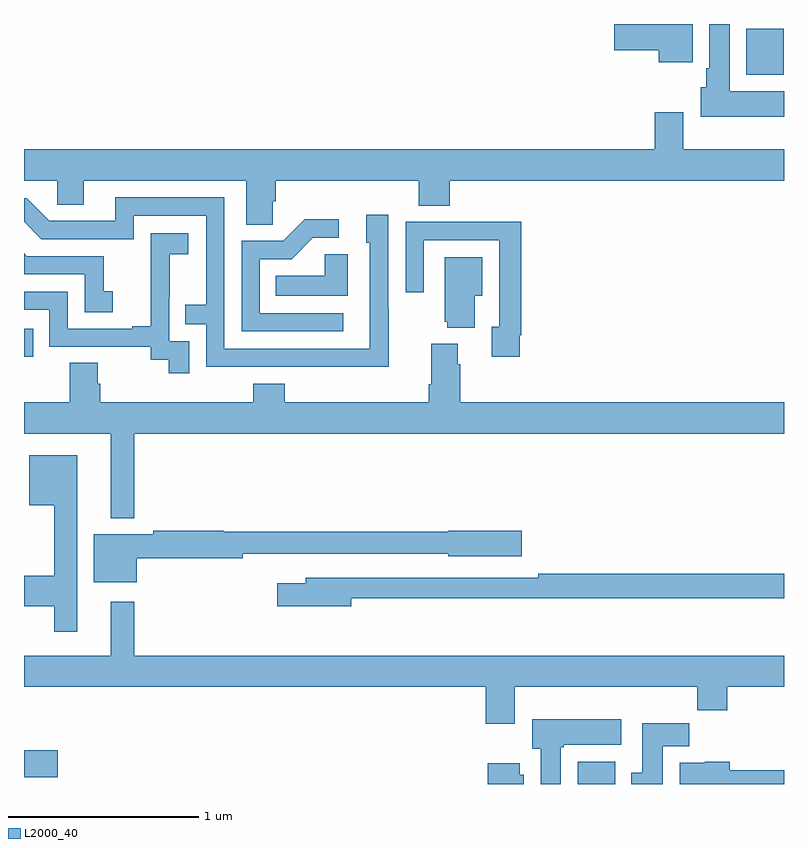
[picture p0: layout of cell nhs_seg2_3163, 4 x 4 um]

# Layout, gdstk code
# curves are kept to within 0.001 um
import gdstk
lib = gdstk.Library(unit=1e-6, precision=1e-09)
def R(c, l, rs):  # rectangles x0, y0, x1, y1
    for r in rs: c.add(gdstk.rectangle(r[:2], r[2:], *l))
def P(c, l, *ps):  # polygons
    for p in ps: c.add(gdstk.Polygon(p, *l))
L2000_40 = (2000, 40)

nhs_seg2_3163 = lib.new_cell('nhs_seg2_3163')
R(nhs_seg2_3163, L2000_40, [(279.914,637.8,280.111,637.918), (277,637.835,277.177,637.977), (277,640.05,277.049,640.197), (280.802,641.534,280.999,641.776)])
P(nhs_seg2_3163, L2000_40, [(281,641.446),(280.714,641.446),(280.714,641.8),(280.607,641.8),(280.607,641.566),(280.592,641.566),(280.592,641.466),(280.562,641.466),(280.562,641.312),(281,641.312)],
  [(280.519,641.8),(280.106,641.8),(280.106,641.663),(280.34,641.663),(280.34,641.6),(280.519,641.6)],
  [(278.31,640.867),(278.324,640.867),(278.324,640.976),(279.077,640.976),(279.077,640.843),(279.242,640.843),(279.242,640.976),(281,640.976),(281,641.14),(280.471,641.14),(280.471,641.335),(280.319,641.335),(280.319,641.14),(277,641.14),(277,640.976),(277.176,640.976),(277.176,640.849),(277.315,640.849),(277.315,640.976),(278.171,640.976),(278.171,640.744),(278.31,640.744)],
  [(278.919,640.301),(278.916,640.301),(278.916,640.795),(278.801,640.795),(278.801,640.65),(278.82,640.65),(278.82,640.092),(278.055,640.092),(278.055,640.887),(277.481,640.887),(277.481,640.764),(277.134,640.764),(277.014,640.884),(277,640.884),(277,640.76),(277.092,640.668),(277.578,640.668),(277.578,640.791),(277.959,640.791),(277.959,640.322),(277.849,640.322),(277.849,640.221),(277.959,640.221),(277.959,639.996),(278.919,639.995)],
  [(278.68,640.278),(278.241,640.278),(278.241,640.563),(278.41,640.563),(278.521,640.674),(278.656,640.674),(278.656,640.772),(278.477,640.772),(278.364,640.659),(278.145,640.659),(278.145,640.182),(278.68,640.182)],
  [(279.61,640.162),(279.617,640.162),(279.617,640.76),(279.325,640.76),(279.325,640.758),(279.009,640.758),(279.009,640.389),(279.105,640.389),(279.105,640.662),(279.501,640.662),(279.501,640.206),(279.461,640.206),(279.461,640.05),(279.61,640.05)],
  [(277.869,640.131),(277.764,640.131),(277.764,640.361),(277.766,640.361),(277.766,640.589),(277.864,640.589),(277.864,640.699),(277.666,640.699),(277.666,640.493),(277.667,640.493),(277.667,640.21),(277.571,640.21),(277.571,640.197),(277.23,640.197),(277.23,640.392),(277,640.392),(277,640.296),(277.134,640.296),(277.134,640.101),(277.668,640.101),(277.668,640.033),(277.761,640.033),(277.761,639.963),(277.869,639.963)],
  [(277.468,640.393),(277.419,640.393),(277.419,640.578),(277.015,640.578),(277,640.593),(277,640.482),(277.32,640.482),(277.32,640.284),(277.468,640.284)],
  [(278.704,640.589),(278.583,640.589),(278.583,640.474),(278.326,640.474),(278.326,640.37),(278.704,640.37)],
  [(279.373,640.37),(279.412,640.37),(279.412,640.573),(279.215,640.573),(279.215,640.233),(279.227,640.233),(279.227,640.202),(279.373,640.202)],
  [(277.579,639.644),(281,639.644),(281,639.808),(279.296,639.808),(279.296,640.01),(279.283,640.01),(279.283,640.117),(279.143,640.117),(279.143,639.904),(279.131,639.904),(279.131,639.808),(278.372,639.808),(278.372,639.907),(278.207,639.907),(278.207,639.808),(277.4,639.808),(277.4,639.906),(277.387,639.906),(277.387,640.016),(277.24,640.016),(277.24,639.808),(277,639.808),(277,639.644),(277.457,639.644),(277.457,639.2),(277.579,639.2)],
  [(277.279,639.529),(277.028,639.529),(277.028,639.266),(277.158,639.266),(277.158,638.895),(277,638.895),(277,638.735),(277.158,638.735),(277.158,638.601),(277.279,638.601)],
  [(277.594,638.987),(278.152,638.987),(278.152,639.011),(278.346,639.011),(278.346,639.012),(279.234,639.012),(279.234,638.999),(279.619,638.999),(279.619,639.134),(279.234,639.134),(279.234,639.128),(278.052,639.128),(278.052,639.134),(277.68,639.134),(277.68,639.115),(277.367,639.115),(277.367,638.861),(277.594,638.861)],
  [(278.722,638.778),(281,638.778),(281,638.906),(279.706,638.906),(279.706,638.886),(278.483,638.886),(278.483,638.857),(278.334,638.857),(278.334,638.735),(278.722,638.735)],
  [(279.583,638.312),(280.543,638.312),(280.543,638.188),(280.7,638.188),(280.7,638.312),(281,638.312),(281,638.476),(277.579,638.476),(277.579,638.758),(277.457,638.758),(277.457,638.476),(277,638.476),(277,638.312),(279.431,638.312),(279.431,638.118),(279.583,638.118)],
  [(279.826,637.993),(279.84,637.993),(279.84,638.006),(280.144,638.006),(280.144,638.14),(279.674,638.14),(279.674,637.986),(279.719,637.986),(279.719,637.8),(279.826,637.8)],
  [(280.363,638),(280.502,638),(280.502,638.119),(280.253,638.119),(280.253,637.86),(280.196,637.86),(280.196,637.8),(280.363,637.8)],
  [(281,637.872),(280.715,637.872),(280.715,637.918),(280.584,637.918),(280.584,637.912),(280.451,637.912),(280.451,637.8),(281,637.8)],
  [(279.631,637.848),(279.61,637.848),(279.61,637.909),(279.44,637.909),(279.44,637.8),(279.631,637.8)])

lib.write_gds('nhs_seg2_3163.gds')
